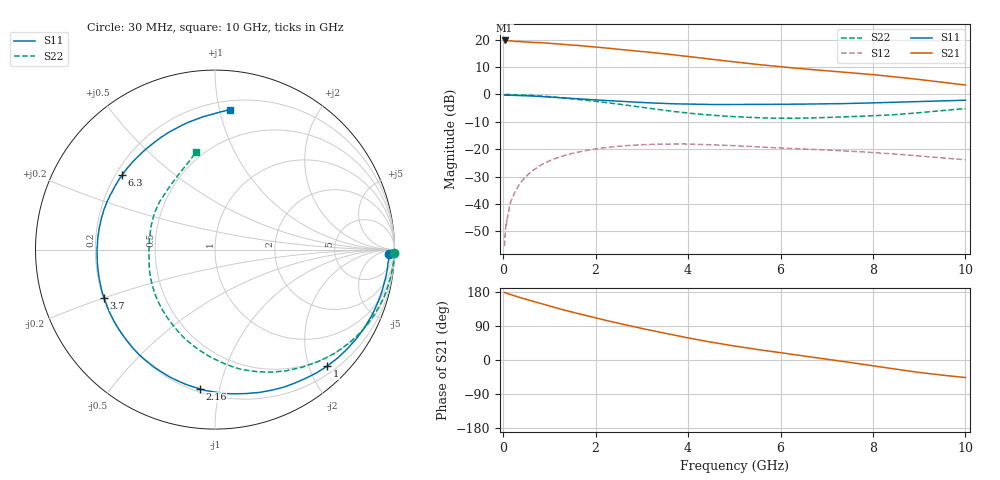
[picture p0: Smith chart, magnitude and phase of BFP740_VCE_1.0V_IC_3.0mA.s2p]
! Infineon Technologies  Discrete & RF Semiconductors
! BFP740
! VCE =  1.0 V,  IC =  3.0 mA
! Common Emitter S-Parameters:  Jan 2016
# GHz  S  MA  R  50
!  f  S11  S21  S12  S22
! GHz  MAG  ANG  MAG  ANG  MAG  ANG  MAG  ANG
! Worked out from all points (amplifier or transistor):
!   229 points, 30 MHz to 10 GHz, reference 50 ohm
!   highest |S21| = 19.7 dB at 30 MHz (marker M1)
!   |S21| within 3 dB of that: start of sweep to 2.354 GHz
!   unconditionally stable (mu >= 1): 8.285 GHz to end of sweep
!   at 280 MHz: K = 0.07, MSG = 27.1 dB, |S12| = -34.8 dB
!   at 1.78 GHz: K = 0.19, MSG = 19.1 dB, |S12| = -20.5 dB
!   at 10 GHz: K = 1.28, MAG = 10.4 dB, |S12| = -23.8 dB
!   S11 on the Smith chart (normalised r, x): 30 MHz: 40, -32; 1 GHz: 0.33, -2.31; 2.16 GHz: 0.22, -0.87; 3.7 GHz: 0.20, -0.20; 6.3 GHz: 0.23, +0.34; 10 GHz: 0.27, +1.08
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0.03  0.9697 -1.4  9.666 178.1  0.0017 83.5  0.9986 -1.0
0.04  0.9696 -1.9  9.51 177.6  0.0028 86.0  0.9991 -1.4
0.08  0.9686 -3.8  9.624 175.8  0.0057 90.5  0.998 -2.9
0.28  0.9593 -13.2  9.277 167.9  0.0182 80.0  0.9883 -9.9
0.4  0.9526 -18.7  9.215 163.5  0.026 76.9  0.9801 -14.1
0.8  0.921 -37.1  8.854 149.4  0.0504 64.6  0.9398 -27.7
1  0.9012 -46.1  8.589 142.6  0.0614 58.3  0.9117 -34.6
1.28  0.8675 -58.5  8.229 133.0  0.0749 49.9  0.8676 -43.6
1.6  0.8336 -72.6  7.875 123.0  0.0879 41.4  0.8155 -53.5
1.7  0.8233 -76.7  7.705 120.1  0.0914 38.8  0.7976 -56.5
2.16  0.7806 -96.3  7.127 106.3  0.1056 27.2  0.7208 -70.7
2.78  0.7298 -121.1  6.321 89.2  0.1177 13.2  0.6169 -88.8
3.1  0.7058 -134.0  5.972 80.6  0.1217 6.6  0.5678 -98.6
3.4  0.6888 -145.3  5.603 73.0  0.124 0.5  0.5269 -107.9
3.7  0.6741 -156.6  5.275 65.5  0.1245 -5.2  0.4869 -117.6
4.4  0.6575 -179.7  4.497 49.3  0.1214 -17.1  0.4251 -139.2
5.1  0.6564 162.3  3.853 35.1  0.1147 -26.7  0.3891 -157.8
6.3  0.6643 141.1  3.034 14.1  0.103 -38.8  0.3681 174.4
6.8  0.6704 132.9  2.788 5.6  0.0986 -43.4  0.3746 163.6
8.4  0.7171 104.8  2.129 -22.5  0.0826 -55.7  0.4241 129.1
9  0.743 95.2  1.875 -32.8  0.0755 -59.4  0.4645 115.9
10  0.7844 83.9  1.485 -46.4  0.0642 -60.7  0.5534 101.1
